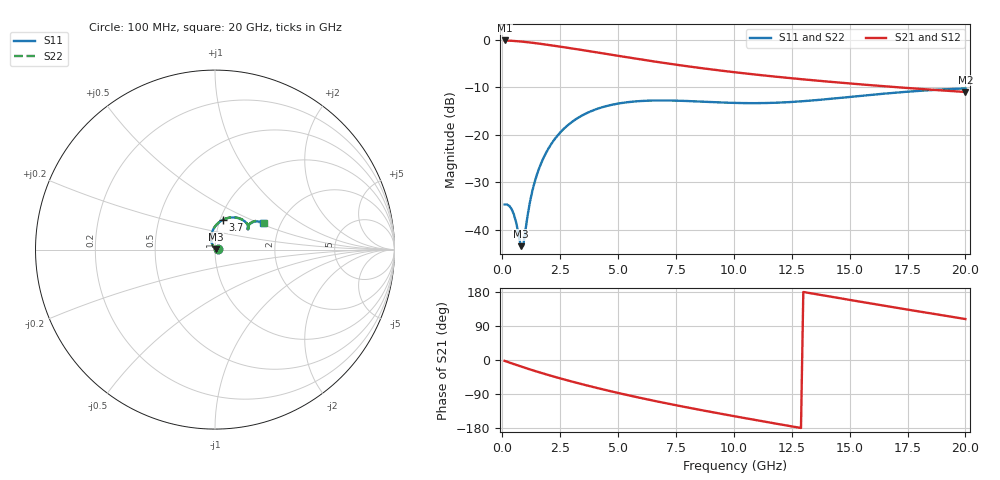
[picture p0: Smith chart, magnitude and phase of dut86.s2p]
! Touchstone file exported from HFSS 2024.1.0
!  File:  C:/UserFiles/LocalFiles/RDL_TSV_Batchsim/temp_RDL_TSV_86_1779415933.aedt
!  Generated:  10:28:42 AM May 22, 2026
!  Design:  RDL_TSV
!  Project:  temp_RDL_TSV_86_1779415933
!  Setup:  Setup1
!  Solution:  Sweep
! Variables:
!  dtsv = 13.7um
!  hbump = 3um
!  htsv = 66.59um
!  ldown = 605.66um
!  lrdl = 488.09um
!  p = 40
!  p1 = 47.07um
!  rhole = 10um
!  subl = 3769.34um
!  t = 450um
!  tdown = 4.1um
!  trdl = 2.89um
!  viad = 10um
!  wdown = 18um
!  wrdl = 25.59um
!  xbump = 18um
# GHz S MA R 50.000000
! Terminal data exported
! Port[1] = TM1_1_T1
! Port[2] = TM1_4_T1
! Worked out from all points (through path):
!   200 points, 100 MHz to 20 GHz, reference 50 ohm
!   highest |S21| = -0.17 dB at 100 MHz (marker M1); lowest = -11.0 dB at 20 GHz (marker M2)
!   group delay of S21, straight-line fit = 33.2 ps
!   lowest |S11| = -43.5 dB at 800 MHz (marker M3), VSWR 1.01, Z = 50.5 + j0.414 ohm
!   |S11| at or under -10 dB: start of sweep to end of sweep
!   |S22| runs from -43.5 to -10.2 dB; largest |S21 - S12| = 1.1e-14
!   S11 on the Smith chart (normalised r, x): 100 MHz: 1.04, +0.00; 3.7 GHz: 1.03, +0.35; 20 GHz: 1.63, +0.53
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0.1  0.01836 2.0  0.981 -2.2  0.981 -2.2  0.01836 2.0
! Gamma 0 0 0 0
! Port Impedance 50 0 50 0
0.3  0.0178 2.5  0.9764 -6.6  0.9764 -6.6  0.01779 2.5
0.5  0.01445 2.8  0.9696 -10.8  0.9696 -10.8  0.01443 2.8
0.6  0.01186 6.0  0.9656 -12.9  0.9656 -12.9  0.01183 6.1
0.8  0.006686 37.7  0.9564 -17.0  0.9564 -17.0  0.006663 38.1
0.9  0.006721 75.3  0.9512 -19.0  0.9512 -19.0  0.006734 75.9
1.1  0.01442 112.5  0.9399 -23.0  0.9399 -23.0  0.01449 112.7
1.3  0.02565 118.1  0.9276 -26.9  0.9276 -26.9  0.02577 118.2
1.5  0.0382 117.0  0.9145 -30.7  0.9145 -30.7  0.03836 117.1
1.8  0.05821 112.0  0.8939 -36.2  0.8939 -36.2  0.05843 112.1
2.1  0.07862 105.8  0.8728 -41.6  0.8728 -41.6  0.0789 105.9
2.5  0.1051 97.5  0.8444 -48.5  0.8444 -48.5  0.1055 97.6
3.5  0.1617 78.6  0.7742 -64.8  0.7742 -64.8  0.1622 78.7
3.7  0.1708 75.3  0.7605 -67.9  0.7605 -67.9  0.1714 75.4
5.3  0.2178 53.7  0.6582 -91.1  0.6582 -91.1  0.2184 53.8
6.8  0.2291 40.6  0.5774 -110.8  0.5774 -110.8  0.2297 40.8
8.4  0.2237 33.3  0.5086 -130.0  0.5086 -130.0  0.2243 33.5
10.1  0.2155 31.5  0.4519 -149.2  0.4519 -149.2  0.2162 31.8
11.7  0.2162 33.3  0.41 -166.6  0.41 -166.6  0.217 33.7
13.4  0.2291 35.7  0.374 175.3  0.374 175.3  0.2304 36.1
16.7  0.2728 34.9  0.3203 141.2  0.3203 141.2  0.2751 35.4
20  0.3065 28.7  0.2813 108.1  0.2813 108.1  0.3099 29.1
